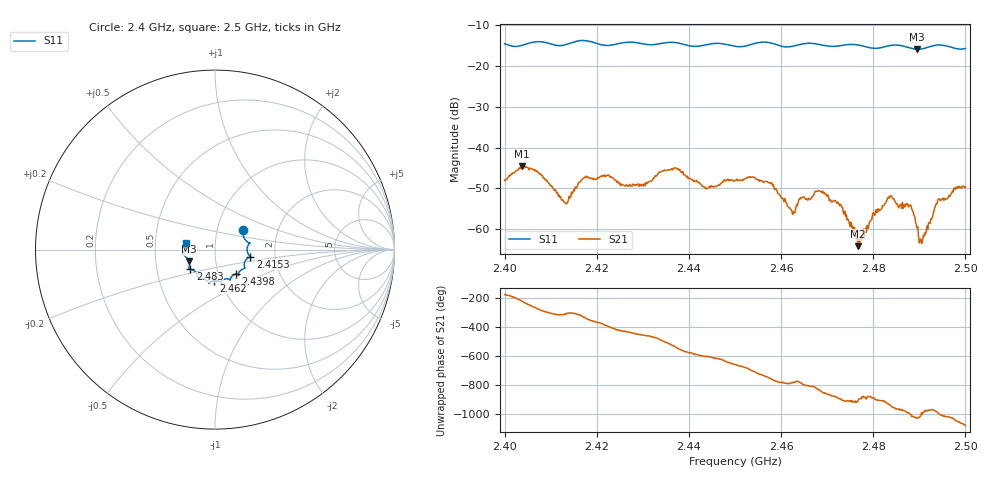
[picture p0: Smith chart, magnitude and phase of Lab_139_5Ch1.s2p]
# Hz S RI R 50
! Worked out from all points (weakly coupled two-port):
!   601 points, 2.4 GHz to 2.5 GHz, reference 50 ohm
!   highest |S21| = -44.51 dB at 2.4037 GHz (marker M1); lowest = -64.2 dB at 2.4767 GHz (marker M2)
!   lowest |S11| = -15.9 dB at 2.4895 GHz (marker M3), VSWR 1.38, Z = 37 - j5.01 ohm
!   |S11| at or under -10 dB: start of sweep to end of sweep
!   S12 and S22 are empty: the file has one direction only
!   S11 on the Smith chart (normalised r, x): 2.4 GHz: 1.33, +0.29; 2.4153 GHz: 1.48, -0.12; 2.4398 GHz: 1.21, -0.34; 2.462 GHz: 0.93, -0.33; 2.483 GHz: 0.74, -0.17; 2.5 GHz: 0.72, +0.06
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2.4e9  0.1552 0.1066  -0.00395 -0.00027  0 0  0 0
2.403667e9  0.1718 0.0513  -0.00466 0.00369  0 0  0 0
2.413167e9  0.1819 -0.0172  0.0013 0.00163  0 0  0 0
2.415333e9  0.1962 -0.0388  0.00197 0.00261  0 0  0 0
2.416667e9  0.2017 -0.0429  0.00318 0.00245  0 0  0 0
2.429667e9  0.1564 -0.108  -0.000255 -0.0035  0 0  0 0
2.433333e9  0.1312 -0.1336  -0.00243 -0.00417  0 0  0 0
2.439833e9  0.1156 -0.1365  -0.00338 0.00238  0 0  0 0
2.443833e9  0.0863 -0.1621  -0.00143 0.00282  0 0  0 0
2.45e9  0.0648 -0.1628  0.00192 0.00343  0 0  0 0
2.4575e9  0.0381 -0.1903  0.00301 -0.00209  0 0  0 0
2.462e9  -0.00527 -0.1732  0.000648 -0.00164  0 0  0 0
2.466667e9  -0.0344 -0.1874  7.64e-05 -0.00249  0 0  0 0
2.472833e9  -0.0783 -0.1602  -0.00201 -6.06e-05  0 0  0 0
2.476667e9  -0.0956 -0.155  -0.000599 0.000134  0 0  0 0
2.483e9  -0.1374 -0.1095  -0.00205 0.000983  0 0  0 0
2.483333e9  -0.1399 -0.1093  -0.0021 0.0013  0 0  0 0
2.488e9  -0.1423 -0.0865  0.000441 0.00193  0 0  0 0
2.4895e9  -0.1463 -0.0661  0.000646 0.000805  0 0  0 0
2.4905e9  -0.1538 -0.0522  1.51e-05 0.000662  0 0  0 0
2.494e9  -0.1803 -0.0231  6.66e-05 0.00223  0 0  0 0
2.5e9  -0.1599 0.0391  0.00329 -6.24e-05  0 0  0 0
